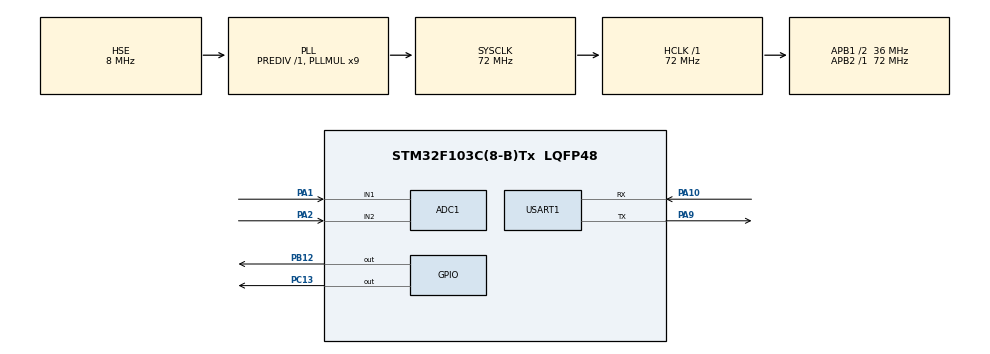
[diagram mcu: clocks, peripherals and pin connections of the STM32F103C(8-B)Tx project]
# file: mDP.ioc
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ADC1.Channel-0\#ChannelRegularConversion=ADC_CHANNEL_1
ADC1.Channel-1\#ChannelRegularConversion=ADC_CHANNEL_2
ADC1.ContinuousConvMode=ENABLE
ADC1.NbrOfConversion=2
ADC1.NbrOfConversionFlag=1
ADC1.Rank-0\#ChannelRegularConversion=1
ADC1.Rank-1\#ChannelRegularConversion=2
ADC1.SamplingTime-0\#ChannelRegularConversion=ADC_SAMPLETIME_7CYCLES_5
ADC1.SamplingTime-1\#ChannelRegularConversion=ADC_SAMPLETIME_7CYCLES_5
ADC1.master=1
Dma.ADC1.0.Direction=DMA_PERIPH_TO_MEMORY
Dma.ADC1.0.Instance=DMA1_Channel1
Dma.ADC1.0.MemDataAlignment=DMA_MDATAALIGN_HALFWORD
Dma.ADC1.0.MemInc=DMA_MINC_ENABLE
Dma.ADC1.0.Mode=DMA_CIRCULAR
Dma.ADC1.0.PeriphDataAlignment=DMA_PDATAALIGN_HALFWORD
Dma.ADC1.0.PeriphInc=DMA_PINC_DISABLE
Dma.ADC1.0.Priority=DMA_PRIORITY_HIGH
Dma.Request0=ADC1
Mcu.Family=STM32F1
Mcu.Name=STM32F103C(8-B)Tx
Mcu.Package=LQFP48
NVIC.DMA1_Channel1_IRQn=true\:0\:0\:false\:false\:true\:false\:true
NVIC.PriorityGroup=NVIC_PRIORITYGROUP_4
NVIC.TIM3_IRQn=true\:0\:0\:false\:false\:true\:true\:true
NVIC.USART1_IRQn=true\:0\:0\:false\:false\:true\:true\:true
PA1.Signal=ADCx_IN1
PA10.Mode=Asynchronous
PA10.Signal=USART1_RX
PA13.Mode=Trace_Asynchronous_SW
PA13.Signal=SYS_JTMS-SWDIO
PA14.Mode=Trace_Asynchronous_SW
PA14.Signal=SYS_JTCK-SWCLK
PA2.Signal=ADCx_IN2
PA9.Mode=Asynchronous
PA9.Signal=USART1_TX
PB12.Signal=GPIO_Output
PB3.Mode=Trace_Asynchronous_SW
PB3.Signal=SYS_JTDO-TRACESWO
PC13-TAMPER-RTC.Signal=GPIO_Output
PD0-OSC_IN.Mode=HSE-External-Oscillator
PD0-OSC_IN.Signal=RCC_OSC_IN
PD1-OSC_OUT.Mode=HSE-External-Oscillator
PD1-OSC_OUT.Signal=RCC_OSC_OUT
ProjectManager.HeapSize=0x200
ProjectManager.StackSize=0x400
ProjectManager.TargetToolchain=MDK-ARM V5
RCC.ADCPresc=RCC_ADCPCLK2_DIV6
RCC.AHBFreq_Value=72000000
RCC.APB1CLKDivider=RCC_HCLK_DIV2
RCC.APB1Freq_Value=36000000
RCC.APB1TimFreq_Value=72000000
RCC.APB2Freq_Value=72000000
RCC.APB2TimFreq_Value=72000000
RCC.HCLKFreq_Value=72000000
RCC.PLLMUL=RCC_PLL_MUL9
RCC.PLLSourceVirtual=RCC_PLLSOURCE_HSE
RCC.SYSCLKFreq_VALUE=72000000
RCC.SYSCLKSource=RCC_SYSCLKSOURCE_PLLCLK
RCC.USBFreq_Value=72000000
SH.ADCx_IN1.0=ADC1_IN1,IN1
SH.ADCx_IN2.0=ADC1_IN2,IN2
TIM3.Period=100-1
TIM3.Prescaler=7200-1
USART1.VirtualMode=VM_ASYNC
VP_TIM3_VS_ClockSourceINT.Mode=Internal
board=custom

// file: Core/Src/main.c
/* USER CODE BEGIN Header */
/**
  ******************************************************************************
  * @file           : main.c
  * @brief          : Main program body
  ******************************************************************************
  * @attention
  *
  * Copyright (c) 2022 STMicroelectronics.
  * All rights reserved.
  *
  * This software is licensed under terms that can be found in the LICENSE file
  * in the root directory of this software component.
  * If no LICENSE file comes with this software, it is provided AS-IS.
  *
  ******************************************************************************
  */
/* USER CODE END Header */
#include "main.h"

ADC_HandleTypeDef hadc1;
DMA_HandleTypeDef hdma_adc1;

TIM_HandleTypeDef htim3;

UART_HandleTypeDef huart1;

/* USER CODE BEGIN PV */
uint16_t adcValBuffer[BUFFERSIZE/2][2]={0};
uint16_t adcVal[TMPSIZE][2]={0};
//uint16_t adcValTmp[20];
uint32_t adcInitVal[2]={0};

uint8_t frame[10]={0};
uint8_t rxFrame[100]={0};
uint16_t firstVal = 0;
uint8_t ack = 0x03;
uint8_t UART_RIT_ERROR = 0;
uint16_t toggleLED = 0;
/* USER CODE END PV */

void SystemClock_Config(void);
static void MX_GPIO_Init(void);
static void MX_DMA_Init(void);
static void MX_ADC1_Init(void);
static void MX_USART1_UART_Init(void);
static void MX_TIM3_Init(void);

int main(void)
{

  /* MCU Configuration--------------------------------------------------------*/

  /* Reset of all peripherals, Initializes the Flash interface and the Systick. */
  HAL_Init();

  /* Configure the system clock */
  SystemClock_Config();

  /* Initialize all configured peripherals */
  MX_GPIO_Init();
  MX_DMA_Init();
  MX_ADC1_Init();
  MX_USART1_UART_Init();
  MX_TIM3_Init();
  /* USER CODE BEGIN 2 */
//  初始校准
	HAL_ADCEx_Calibration_Start(&hadc1);//

	HAL_ADC_Start_DMA(&hadc1, (uint32_t*)adcValBuffer, BUFFERSIZE);
	HAL_UART_Receive_IT(&huart1,(uint8_t*)rxFrame,10);

  /* USER CODE END 2 */

  /* Infinite loop */
  while (1)
  {

    /* USER CODE BEGIN 3 */
	  HAL_Delay(100);
	  if(UART_RIT_ERROR==1){UART_RIT_ERROR= 0;HAL_UART_Receive_IT(&huart1, (uint8_t *)rxFrame, 10);}
//	  HAL_UART_Transmit(&huart1, &test, 1, 0xffff);

//	  HAL_GPIO_WritePin(GPIOC, GPIO_PIN_13, GPIO_PIN_RESET);
  }
  /* USER CODE END 3 */
}

void SystemClock_Config(void)
{
  RCC_OscInitTypeDef RCC_OscInitStruct = {0};
  RCC_ClkInitTypeDef RCC_ClkInitStruct = {0};
  RCC_PeriphCLKInitTypeDef PeriphClkInit = {0};

  /** Initializes the RCC Oscillators according to the specified parameters
  * in the RCC_OscInitTypeDef structure.
  */
  RCC_OscInitStruct.OscillatorType = RCC_OSCILLATORTYPE_HSE;
  RCC_OscInitStruct.HSEState = RCC_HSE_ON;
  RCC_OscInitStruct.HSEPredivValue = RCC_HSE_PREDIV_DIV1;
  RCC_OscInitStruct.HSIState = RCC_HSI_ON;
  RCC_OscInitStruct.PLL.PLLState = RCC_PLL_ON;
  RCC_OscInitStruct.PLL.PLLSource = RCC_PLLSOURCE_HSE;
  RCC_OscInitStruct.PLL.PLLMUL = RCC_PLL_MUL9;
  if (HAL_RCC_OscConfig(&RCC_OscInitStruct) != HAL_OK)
  {
    Error_Handler();
  }
  /** Initializes the CPU, AHB and APB buses clocks
  */
  RCC_ClkInitStruct.ClockType = RCC_CLOCKTYPE_HCLK|RCC_CLOCKTYPE_SYSCLK
                              |RCC_CLOCKTYPE_PCLK1|RCC_CLOCKTYPE_PCLK2;
  RCC_ClkInitStruct.SYSCLKSource = RCC_SYSCLKSOURCE_PLLCLK;
  RCC_ClkInitStruct.AHBCLKDivider = RCC_SYSCLK_DIV1;
  RCC_ClkInitStruct.APB1CLKDivider = RCC_HCLK_DIV2;
  RCC_ClkInitStruct.APB2CLKDivider = RCC_HCLK_DIV1;

  if (HAL_RCC_ClockConfig(&RCC_ClkInitStruct, FLASH_LATENCY_2) != HAL_OK)
  {
    Error_Handler();
  }
  PeriphClkInit.PeriphClockSelection = RCC_PERIPHCLK_ADC;
  PeriphClkInit.AdcClockSelection = RCC_ADCPCLK2_DIV6;
  if (HAL_RCCEx_PeriphCLKConfig(&PeriphClkInit) != HAL_OK)
  {
    Error_Handler();
  }
}

static void MX_ADC1_Init(void)
{

  ADC_ChannelConfTypeDef sConfig = {0};

  /** Common config
  */
  hadc1.Instance = ADC1;
  hadc1.Init.ScanConvMode = ADC_SCAN_ENABLE;
  hadc1.Init.ContinuousConvMode = ENABLE;
  hadc1.Init.DiscontinuousConvMode = DISABLE;
  hadc1.Init.ExternalTrigConv = ADC_SOFTWARE_START;
  hadc1.Init.DataAlign = ADC_DATAALIGN_RIGHT;
  hadc1.Init.NbrOfConversion = 2;
  if (HAL_ADC_Init(&hadc1) != HAL_OK)
  {
    Error_Handler();
  }
  /** Configure Regular Channel
  */
  sConfig.Channel = ADC_CHANNEL_1;
  sConfig.Rank = ADC_REGULAR_RANK_1;
  sConfig.SamplingTime = ADC_SAMPLETIME_7CYCLES_5;
  if (HAL_ADC_ConfigChannel(&hadc1, &sConfig) != HAL_OK)
  {
    Error_Handler();
  }
  /** Configure Regular Channel
  */
  sConfig.Channel = ADC_CHANNEL_2;
  sConfig.Rank = ADC_REGULAR_RANK_2;
  if (HAL_ADC_ConfigChannel(&hadc1, &sConfig) != HAL_OK)
  {
    Error_Handler();
  }

}

static void MX_TIM3_Init(void)
{

  TIM_ClockConfigTypeDef sClockSourceConfig = {0};
  TIM_MasterConfigTypeDef sMasterConfig = {0};

  htim3.Instance = TIM3;
  htim3.Init.Prescaler = 7200-1;
  htim3.Init.CounterMode = TIM_COUNTERMODE_UP;
  htim3.Init.Period = 100-1;
  htim3.Init.ClockDivision = TIM_CLOCKDIVISION_DIV1;
  htim3.Init.AutoReloadPreload = TIM_AUTORELOAD_PRELOAD_DISABLE;
  if (HAL_TIM_Base_Init(&htim3) != HAL_OK)
  {
    Error_Handler();
  }
  sClockSourceConfig.ClockSource = TIM_CLOCKSOURCE_INTERNAL;
  if (HAL_TIM_ConfigClockSource(&htim3, &sClockSourceConfig) != HAL_OK)
  {
    Error_Handler();
  }
  sMasterConfig.MasterOutputTrigger = TIM_TRGO_RESET;
  sMasterConfig.MasterSlaveMode = TIM_MASTERSLAVEMODE_DISABLE;
  if (HAL_TIMEx_MasterConfigSynchronization(&htim3, &sMasterConfig) != HAL_OK)
  {
    Error_Handler();
  }

}

static void MX_USART1_UART_Init(void)
{

  huart1.Instance = USART1;
  huart1.Init.BaudRate = 115200;
  huart1.Init.WordLength = UART_WORDLENGTH_8B;
  huart1.Init.StopBits = UART_STOPBITS_1;
  huart1.Init.Parity = UART_PARITY_NONE;
  huart1.Init.Mode = UART_MODE_TX_RX;
  huart1.Init.HwFlowCtl = UART_HWCONTROL_NONE;
  huart1.Init.OverSampling = UART_OVERSAMPLING_16;
  if (HAL_UART_Init(&huart1) != HAL_OK)
  {
    Error_Handler();
  }

}

static void MX_DMA_Init(void)
{

  /* DMA controller clock enable */
  __HAL_RCC_DMA1_CLK_ENABLE();

  /* DMA interrupt init */
  /* DMA1_Channel1_IRQn interrupt configuration */
  HAL_NVIC_SetPriority(DMA1_Channel1_IRQn, 1, 2);
  HAL_NVIC_EnableIRQ(DMA1_Channel1_IRQn);

}

static void MX_GPIO_Init(void)
{
  GPIO_InitTypeDef GPIO_InitStruct = {0};

  /* GPIO Ports Clock Enable */
  __HAL_RCC_GPIOC_CLK_ENABLE();
  __HAL_RCC_GPIOD_CLK_ENABLE();
  __HAL_RCC_GPIOA_CLK_ENABLE();
  __HAL_RCC_GPIOB_CLK_ENABLE();

  /*Configure GPIO pin Output Level */
  HAL_GPIO_WritePin(GPIOC, GPIO_PIN_13, GPIO_PIN_RESET);

  /*Configure GPIO pin Output Level */
  HAL_GPIO_WritePin(GPIOB, GPIO_PIN_12, GPIO_PIN_RESET);

  /*Configure GPIO pin : PC13 */
  GPIO_InitStruct.Pin = GPIO_PIN_13;
  GPIO_InitStruct.Mode = GPIO_MODE_OUTPUT_PP;
  GPIO_InitStruct.Pull = GPIO_NOPULL;
  GPIO_InitStruct.Speed = GPIO_SPEED_FREQ_LOW;
  HAL_GPIO_Init(GPIOC, &GPIO_InitStruct);

  /*Configure GPIO pin : PB12 */
  GPIO_InitStruct.Pin = GPIO_PIN_12;
  GPIO_InitStruct.Mode = GPIO_MODE_OUTPUT_PP;
  GPIO_InitStruct.Pull = GPIO_NOPULL;
  GPIO_InitStruct.Speed = GPIO_SPEED_FREQ_LOW;
  HAL_GPIO_Init(GPIOB, &GPIO_InitStruct);

}

/* USER CODE BEGIN 4 */
void HAL_ADC_ConvCpltCallback(ADC_HandleTypeDef* hadc1)
{
	if(firstVal<3000){firstVal+=1;return;}
	else if(firstVal<4000)
	{
		firstVal+=1;
		Get_Init_ADC_Val(BUFFERSIZE);
		return;
	}
	else if(firstVal==4000)
	{
		firstVal+=1;
		adcInitVal[0]/=1000;
		adcInitVal[1]/=1000;
		HAL_TIM_Base_Start_IT(&htim3);
	}
	Get_ADC_Average(BUFFERSIZE);
}
void Get_Init_ADC_Val(uint16_t times)
{
	uint8_t i;
	uint32_t tmp[2]={0};
	times/=2;
	for(i=0;i<times;++i)
	{
		tmp[0]+=adcValBuffer[i][0];
		tmp[1]+=adcValBuffer[i][1];
	}
	adcInitVal[0]+=tmp[0]/times;
	adcInitVal[1]+=tmp[1]/times;
}
void Get_ADC_Average(uint16_t times)
{
	uint8_t i;
	uint32_t tmp[2]={0};
	static uint8_t k = 0 ;
	times/=2;
	for(i=0;i<times;i+=1)
	{
		tmp[0]+=adcValBuffer[i][0];
		tmp[1]+=adcValBuffer[i][1];
	}
	adcVal[k][0]=tmp[0]/times;
	adcVal[k][1]=tmp[1]/times;
	k+=1;
	if(k>=TMPSIZE)k=0;
}
void Send_Data(void)
{
	if(firstVal<=4000)return;

	static uint8_t k = 0;

	uint8_t i = 0;
	frame[i++]=0xAE;
	frame[i++]=0xEA;
	frame[i++] = ack;
	int16_t hAngle = (adcVal[k][0]-adcInitVal[0]);
	int16_t pAngle = (adcVal[k][1]-adcInitVal[1]);
	k+=1;
	if(k>=TMPSIZE)k=0;
	frame[i++]=hAngle&0x00ff;
	frame[i++] = (hAngle&0xff00)>>8;
	frame[i++]=pAngle&0x00ff;
	frame[i++] = (pAngle&0xff00)>>8;
	uint8_t sum = 0;
	for(int j = 0;j<i;++j)
	{
		sum+= frame[j];
	}
	frame[i++] = sum;
	frame[i++] = 0xEF;
	frame[i++] = 0xFE;
	HAL_UART_Transmit(&huart1, (uint8_t *)frame, 10, 0xffff);
	++toggleLED;
	if(toggleLED%100==0)
		HAL_GPIO_TogglePin(GPIOB,GPIO_PIN_12);
	if(toggleLED>=60000)toggleLED=0;
}
void Send_Angle(void)
{

}
void HAL_UART_RxCpltCallback(UART_HandleTypeDef *huart)
{
//	uint8_t b = 0x11;
//	HAL_UART_Transmit(&huart1, (uint8_t*)rxFrame, 10, 0xffff);
	if(rxFrame[0]==(uint8_t)0xAE&&rxFrame[1]==(uint8_t)0xEA&&rxFrame[8]==(uint8_t)0xEF&&rxFrame[9]==(uint8_t)0xFE)
	{
		if((uint8_t)0x04==rxFrame[2])
//			发送传感器数据
			ack = 0x01;
		else if((uint8_t)0x02==rxFrame[2])
			Soft_Reset();
	}
//	第三个参数是多少个字符调用一次回调
	HAL_StatusTypeDef ret_state = HAL_UART_Receive_IT(&huart1, (uint8_t *)rxFrame, 10);
	if (ret_state == HAL_BUSY) {
		UART_RIT_ERROR = 1;
	}
}
void Soft_Reset(void)
{

	//复位期间不响应中断
	__set_FAULTMASK(1);
	// 开始复位
	NVIC_SystemReset();

}
void Reset_Response(void)
{
	uint8_t tmpframe[10]={0};
	uint8_t i = 0;
	tmpframe[i++]=0xAE;
	tmpframe[i++]=0xEA;
	tmpframe[i++] = 0x03;

	tmpframe[i++]=0;
	tmpframe[i++] = 0;
	tmpframe[i++]=0;
	tmpframe[i++] = 0;

	uint8_t sum = 0;
	for(int j = 0;j<i;++j)
	{
		sum+= tmpframe[j];
	}
	tmpframe[i++] = sum;
	tmpframe[i++] = 0xEF;
	tmpframe[i++] = 0xFE;
	HAL_UART_Transmit(&huart1, (uint8_t *)tmpframe, 10, 0xffff);
}
void UART1_Receive_IT(void)
{
	HAL_UART_Receive_IT(&huart1,(uint8_t*)rxFrame,10);
}
/* USER CODE END 4 */

void Error_Handler(void)
{
  __disable_irq();
  while (1)
  {
  }
}
